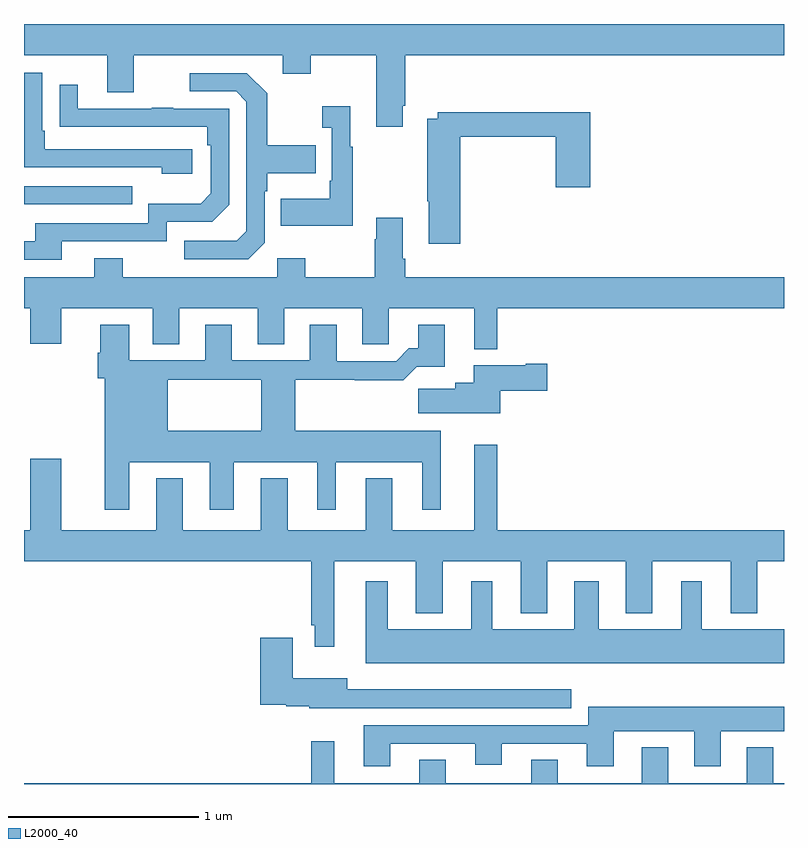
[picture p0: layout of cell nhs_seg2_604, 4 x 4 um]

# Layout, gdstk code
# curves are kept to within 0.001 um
import gdstk
lib = gdstk.Library(unit=1e-6, precision=1e-09)
def R(c, l, rs):  # rectangles x0, y0, x1, y1
    for r in rs: c.add(gdstk.rectangle(r[:2], r[2:], *l))
def P(c, l, *ps):  # polygons
    for p in ps: c.add(gdstk.Polygon(p, *l))
L2000_40 = (2000, 40)

nhs_seg2_604 = lib.new_cell('nhs_seg2_604')
R(nhs_seg2_604, L2000_40, [(141,646.851,141.569,646.947)])
P(nhs_seg2_604, L2000_40, [(142.993,647.371),(143.006,647.371),(143.006,647.636),(145,647.636),(145,647.8),(141,647.8),(141,647.636),(141.437,647.636),(141.437,647.442),(141.577,647.442),(141.577,647.636),(142.361,647.636),(142.361,647.537),(142.509,647.537),(142.509,647.636),(142.853,647.636),(142.853,647.259),(142.993,647.259)],
  [(141.886,647.142),(141.109,647.142),(141.109,647.239),(141.096,647.239),(141.096,647.544),(141,647.544),(141,647.046),(141.725,647.046),(141.725,647.012),(141.886,647.012)],
  [(142.266,646.65),(142.266,646.919),(142.279,646.919),(142.279,647.015),(142.535,647.015),(142.535,647.163),(142.279,647.163),(142.279,647.435),(142.173,647.541),(141.873,647.541),(141.873,647.445),(142.116,647.445),(142.17,647.391),(142.17,646.71),(142.119,646.659),(141.843,646.659),(141.843,646.563),(142.179,646.563)],
  [(141.199,646.656),(141.75,646.656),(141.75,646.758),(141.99,646.758),(142.08,646.848),(142.08,647.355),(141.785,647.355),(141.785,647.36),(141.673,647.36),(141.673,647.355),(141.283,647.355),(141.283,647.479),(141.187,647.479),(141.187,647.26),(141.964,647.259),(141.964,647.162),(141.984,647.162),(141.984,646.908),(141.931,646.855),(141.654,646.855),(141.654,646.752),(141.059,646.752),(141.059,646.656),(141,646.656),(141,646.56),(141.199,646.56)],
  [(142.729,647.155),(142.717,647.155),(142.717,647.368),(142.569,647.368),(142.569,647.255),(142.62,647.255),(142.62,646.975),(142.608,646.975),(142.608,646.879),(142.351,646.879),(142.351,646.739),(142.729,646.739)],
  [(143.297,647.206),(143.798,647.206),(143.798,646.941),(143.981,646.941),(143.981,647.335),(143.178,647.335),(143.178,647.302),(143.122,647.302),(143.122,646.867),(143.129,646.867),(143.129,646.644),(143.297,646.644)],
  [(143.491,646.304),(145,646.304),(145,646.468),(143.006,646.468),(143.006,646.564),(142.993,646.564),(142.993,646.78),(142.853,646.78),(142.853,646.667),(142.846,646.667),(142.846,646.468),(142.479,646.468),(142.479,646.567),(142.332,646.567),(142.332,646.468),(141.519,646.468),(141.519,646.567),(141.371,646.567),(141.371,646.468),(141,646.468),(141,646.304),(141.032,646.304),(141.032,646.116),(141.196,646.116),(141.196,646.304),(141.677,646.304),(141.677,646.114),(141.817,646.114),(141.817,646.304),(142.229,646.304),(142.229,646.114),(142.369,646.114),(142.369,646.304),(142.781,646.304),(142.781,646.114),(142.92,646.114),(142.92,646.304),(143.369,646.304),(143.369,646.088),(143.491,646.088)],
  [(141.553,645.243),(141.553,645.494),(141.977,645.494),(141.977,645.243),(142.105,645.243),(142.105,645.494),(142.544,645.494),(142.544,645.243),(142.642,645.243),(142.642,645.494),(143.096,645.494),(143.096,645.243),(143.194,645.243),(143.194,645.658),(142.427,645.658),(142.427,645.928),(142.741,645.928),(142.741,645.926),(142.997,645.926),(143.066,645.995),(143.215,645.995),(143.215,646.216),(143.075,646.216),(143.075,646.093),(143.026,646.093),(142.959,646.026),(142.645,646.026),(142.645,646.216),(142.505,646.216),(142.505,646.029),(142.093,646.029),(142.093,646.216),(141.953,646.216),(141.953,646.029),(141.553,646.029),(141.553,646.216),(141.401,646.216),(141.401,646.07),(141.389,646.07),(141.389,645.936),(141.425,645.936),(141.425,645.658),(141.757,645.658),(141.757,645.928),(142.249,645.928),(142.249,645.658),(141.425,645.658),(141.425,645.243)],
  [(143.506,645.869),(143.755,645.869),(143.755,646.011),(143.642,646.011),(143.642,646.003),(143.366,646.003),(143.366,645.913),(143.27,645.913),(143.27,645.881),(143.076,645.881),(143.076,645.752),(143.506,645.752)],
  [(143.369,645.586),(143.369,645.136),(142.939,645.136),(142.939,645.409),(142.799,645.409),(142.799,645.136),(142.387,645.136),(142.387,645.409),(142.247,645.409),(142.247,645.136),(141.835,645.136),(141.835,645.409),(141.695,645.409),(141.695,645.136),(141.196,645.136),(141.196,645.511),(141.032,645.511),(141.032,645.136),(141,645.136),(141,644.972),(142.512,644.972),(142.512,644.635),(142.529,644.635),(142.529,644.523),(142.633,644.523),(142.633,644.972),(143.063,644.972),(143.063,644.699),(143.203,644.699),(143.203,644.972),(143.615,644.972),(143.615,644.699),(143.755,644.699),(143.755,644.972),(144.167,644.972),(144.167,644.699),(144.307,644.699),(144.307,644.972),(144.719,644.972),(144.719,644.699),(144.859,644.699),(144.859,644.972),(145,644.972),(145,645.136),(143.491,645.136),(143.491,645.586)],
  [(145,644.614),(144.568,644.614),(144.568,644.866),(144.458,644.866),(144.458,644.614),(144.025,644.614),(144.025,644.866),(143.897,644.866),(143.897,644.614),(143.464,644.614),(143.464,644.866),(143.354,644.866),(143.354,644.614),(142.915,644.614),(142.915,644.866),(142.799,644.866),(142.799,644.435),(145,644.435)],
  [(143.881,644.299),(142.702,644.299),(142.702,644.356),(142.414,644.356),(142.414,644.569),(142.244,644.569),(142.244,644.216),(142.38,644.216),(142.38,644.209),(142.5,644.209),(142.5,644.198),(143.881,644.198)],
  [(142.927,644.013),(143.375,644.013),(143.375,643.901),(143.515,643.901),(143.515,644.013),(143.963,644.013),(143.963,643.893),(144.103,643.893),(144.103,644.078),(144.527,644.078),(144.527,643.893),(144.667,643.893),(144.667,644.078),(145,644.078),(145,644.206),(143.969,644.206),(143.969,644.109),(142.787,644.109),(142.787,643.893),(142.927,643.893)],
  [(145,643.804),(144.943,643.804),(144.943,643.993),(144.803,643.993),(144.803,643.804),(144.391,643.804),(144.391,643.993),(144.251,643.993),(144.251,643.804),(143.809,643.804),(143.809,643.928),(143.669,643.928),(143.669,643.804),(143.221,643.804),(143.221,643.928),(143.081,643.928),(143.081,643.804),(142.633,643.804),(142.633,644.026),(142.512,644.026),(142.512,643.804),(141,643.804),(141,643.8),(145,643.8)])

lib.write_gds('nhs_seg2_604.gds')
